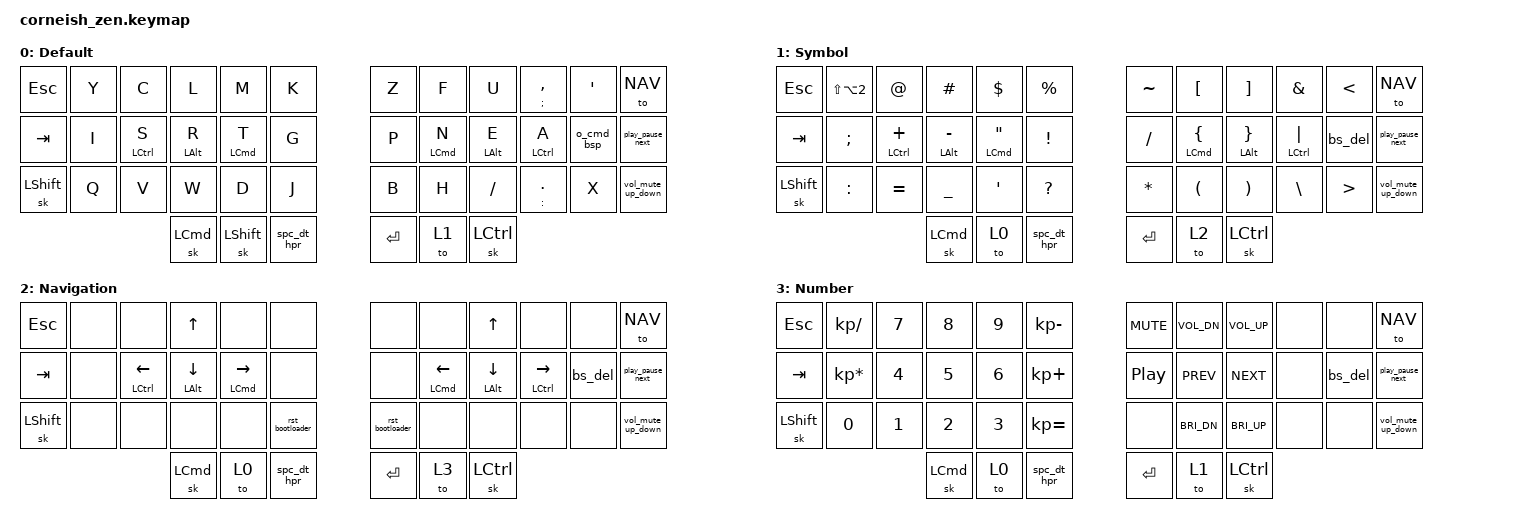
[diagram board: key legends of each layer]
#include <behaviors.dtsi>
#include <dt-bindings/zmk/keys.h>
#include <dt-bindings/zmk/bt.h>
//#include <dt-bindings/zmk/mouse.h>

//#define HOST_OS 2 // macOS
#include "../zmk-nodefree-config/helper.h"
#include "../zmk-nodefree-config/keypos_def/keypos_42keys.h"
//#include "../zmk-nodefree-config/international_chars/german.dtsi"

#define XXX &none
#define ___ &trans

#define DEF 0  // layer shortcuts, must match order in which they are defined below
#define SYM 1
#define NAV 2
#define NUM 3

#define HYPER  LS(LC(LA(LCMD)))
#define MEH    LS(LC(LALT))

&mt {
     flavor = "tap-preferred";
     tapping_term_ms = <220>;
     quick-tap-ms = <220>;              // repeat on tap-into-hold
     hold-trigger-key-positions = <0>;  // tap on interrupt
};

&sk {  // sticky-key config
     release-after-ms = <1000>;  // release after 1s
     quick-release;              // no double capitalization when rolling keys
};

/ {
    combos {
        compatible = "zmk,combos";
        combo_copy {
            timeout-ms = <90>;
            key-positions = <LM3 LM2>;
            bindings = <&kp LG(C)>;
        };
        combo_paste {
            timeout-ms = <90>;
            key-positions = <LM2 LM1>;
            bindings = <&kp LG(V)>;
        };
    };
};

ZMK_BEHAVIOR(hrm, hold_tap,
        flavor = "balanced";
        tapping-term-ms = <250>;
        quick-tap-ms = <125>;
        global-quick-tap;
        bindings = <&kp>, <&kp>;
)
// tap: space | double-tap: dot | hold: HYPER
ZMK_BEHAVIOR(spc_dt_hpr, tap_dance,
        tapping-term-ms = <150>;
        bindings = <&mt HYPER SPACE>, <&kp DOT>;
)
// tap: none | double-tap: reset | tripple-tap: bootloader
ZMK_BEHAVIOR(rst_bootloader, tap_dance,
        tapping-term-ms = <200>;
        bindings = <&none>, <&reset>, <&bootloader>;
)
// tap: Play/Pause | double-tap: Next
ZMK_BEHAVIOR(play_pause_next, tap_dance,
        tapping-term-ms = <200>;
        bindings = <&kp C_PLAY_PAUSE>, <&kp C_NEXT>;
)
// tap: Play/Pause | double-tap: Next
ZMK_BEHAVIOR(vol_mute_up_down, tap_dance,
        tapping-term-ms = <200>;
        bindings = <&mt K_MUTE C_VOLUME_UP>, <&kp C_VOLUME_DOWN>;
)
// tap: backspace | shift + tap: delete | hold: num layer
ZMK_BEHAVIOR(bs_del, mod_morph,
    bindings = <&kp BSPC>, <&kp DEL>;
    mods = <(MOD_LSFT|MOD_RSFT)>;
)
// tap: O | CMD + O: Backspace
ZMK_BEHAVIOR(o_cmd_bsp, mod_morph,
    bindings = <&kp O>, <&kp BSPC>;
    mods = <(MOD_LGUI|MOD_RGUI)>;
)

ZMK_LAYER(Default,
     // ╭─────────────┬─────────────┬─────────────┬─────────────┬─────────────┬─────────────╮   ╭─────────────┬─────────────┬─────────────┬─────────────┬─────────────┬─────────────╮
          &kp ESC       &kp Y         &kp C         &kp L         &kp M         &kp K             &kp Z         &kp F         &kp U       &mt SEMI COMMA  &kp SQT     &to NAV
     // ├─────────────┼─────────────┼─────────────┼─────────────┼─────────────┼─────────────┤   ├─────────────┼─────────────┼─────────────┼─────────────┼─────────────┼─────────────┤
          &kp TAB       &kp I         &hrm LCTRL S  &hrm LALT R   &hrm LCMD T   &kp G             &kp P         &hrm LCMD N   &hrm LALT E   &hrm LCTRL A  &o_cmd_bsp  &play_pause_next
     // ├─────────────┼─────────────┼─────────────┼─────────────┼─────────────┼─────────────┤   ├─────────────┼─────────────┼─────────────┼─────────────┼─────────────┼─────────────┤
          &sk LSHFT     &kp Q         &kp V         &kp W         &kp D         &kp J             &kp B         &kp H         &kp FSLH    &mt COLON DOT   &kp X       &vol_mute_up_down
     // ╰─────────────┼─────────────┼─────────────┼─────────────┼─────────────┼─────────────┤   ├─────────────┼─────────────┼─────────────┼─────────────┼─────────────┼─────────────┤
                                                    &sk LCMD      &sk LSHIFT    &spc_dt_hpr       &kp ENTER     &to 1         &sk LCTRL 
     //                                           ╰─────────────┴─────────────┴─────────────╯   ╰─────────────┴─────────────┴─────────────╯
)
ZMK_LAYER(Symbol,
     // ╭─────────────┬─────────────┬─────────────┬─────────────┬─────────────┬─────────────╮   ╭─────────────┬─────────────┬─────────────┬─────────────┬─────────────┬─────────────╮
          &kp ESC      &kp LS(LA(N2)) &kp AT        &kp HASH      &kp DOLLAR    &kp PERCENT       &kp TILDE     &kp LBKT      &kp RBKT      &kp AMPS      &kp LT      &to NAV
     // ├─────────────┼─────────────┼─────────────┼─────────────┼─────────────┼─────────────┤   ├─────────────┼─────────────┼─────────────┼─────────────┼─────────────┼─────────────┤
          &kp TAB       &kp SEMI    &hrm LCTRL PLUS &hrm LALT MINUS &hrm LCMD DQT &kp EXCL         &kp SLASH   &hrm LCMD LBRC &hrm LALT RBRC &hrm LCTRL PIPE &bs_del  &play_pause_next
     // ├─────────────┼─────────────┼─────────────┼─────────────┼─────────────┼─────────────┤   ├─────────────┼─────────────┼─────────────┼─────────────┼─────────────┼─────────────┤
          &sk LSHFT     &kp COLON     &kp EQUAL     &kp UNDER     &kp SQT       &kp QMARK         &kp STAR      &kp LPAR      &kp RPAR      &kp BSLH      &kp GT      &vol_mute_up_down
     // ╰─────────────┼─────────────┼─────────────┼─────────────┼─────────────┼─────────────┤   ├─────────────┼─────────────┼─────────────┼─────────────┼─────────────┼─────────────┤
                                                    &sk LCMD      &to 0         &spc_dt_hpr       &kp ENTER     &to 2         &sk LCTRL 
     //                                           ╰─────────────┴─────────────┴─────────────╯   ╰─────────────┴─────────────┴─────────────╯
)
ZMK_LAYER(Navigation,
     // ╭─────────────┬─────────────┬─────────────┬─────────────┬─────────────┬─────────────╮   ╭─────────────┬─────────────┬─────────────┬─────────────┬─────────────┬─────────────╮
          &kp ESC       XXX           XXX           &kp UP        XXX           XXX               XXX           XXX           &kp UP        XXX           XXX         &to NAV
     // ├─────────────┼─────────────┼─────────────┼─────────────┼─────────────┼─────────────┤   ├─────────────┼─────────────┼─────────────┼─────────────┼─────────────┼─────────────┤
          &kp TAB       XXX         &hrm LCTRL LEFT &hrm LALT DOWN &hrm LCMD RIGHT  XXX           XXX         &hrm LCMD LEFT &hrm LALT DOWN &hrm LCTRL RIGHT &bs_del  &play_pause_next
     // ├─────────────┼─────────────┼─────────────┼─────────────┼─────────────┼─────────────┤   ├─────────────┼─────────────┼─────────────┼─────────────┼─────────────┼─────────────┤
          &sk LSHFT     XXX           XXX           XXX           XXX         &rst_bootloader   &rst_bootloader XXX           XXX           XXX           XXX         &vol_mute_up_down
     // ╰─────────────┼─────────────┼─────────────┼─────────────┼─────────────┼─────────────┤   ├─────────────┼─────────────┼─────────────┼─────────────┼─────────────┼─────────────┤
                                                    &sk LCMD      &to 0         &spc_dt_hpr       &kp ENTER     &to 3         &sk LCTRL 
     //                                           ╰─────────────┴─────────────┴─────────────╯   ╰─────────────┴─────────────┴─────────────╯
)
ZMK_LAYER(Number,
     // ╭─────────────┬─────────────┬─────────────┬─────────────┬─────────────┬─────────────╮   ╭─────────────┬─────────────┬─────────────┬─────────────┬─────────────┬─────────────╮
          &kp ESC      &kp KP_DIVIDE  &kp N7        &kp N8        &kp N9        &kp KP_MINUS      &kp K_MUTE    &kp C_VOL_DN &kp C_VOL_UP   XXX           XXX         &to NAV
     // ├─────────────┼─────────────┼─────────────┼─────────────┼─────────────┼─────────────┤   ├─────────────┼─────────────┼─────────────┼─────────────┼─────────────┼─────────────┤
          &kp TAB      &kp KP_MULTIPLY &kp N4       &kp N5        &kp N6        &kp KP_PLUS       &kp C_PP      &kp C_PREV    &kp C_NEXT    XXX           &bs_del     &play_pause_next
     // ├─────────────┼─────────────┼─────────────┼─────────────┼─────────────┼─────────────┤   ├─────────────┼─────────────┼─────────────┼─────────────┼─────────────┼─────────────┤
          &sk LSHFT     &kp N0        &kp N1        &kp N2        &kp N3        &kp KP_EQUAL      XXX           &kp C_BRI_DN  &kp C_BRI_UP  XXX           XXX         &vol_mute_up_down
     // ╰─────────────┼─────────────┼─────────────┼─────────────┼─────────────┼─────────────┤   ├─────────────┼─────────────┼─────────────┼─────────────┼─────────────┼─────────────┤
                                                    &sk LCMD      &to 0         &spc_dt_hpr       &kp ENTER     &to 1         &sk LCTRL 
     //                                           ╰─────────────┴─────────────┴─────────────╯   ╰─────────────┴─────────────┴─────────────╯
)

/ { chosen { zmk,matrix_transform = &default_transform; }; };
